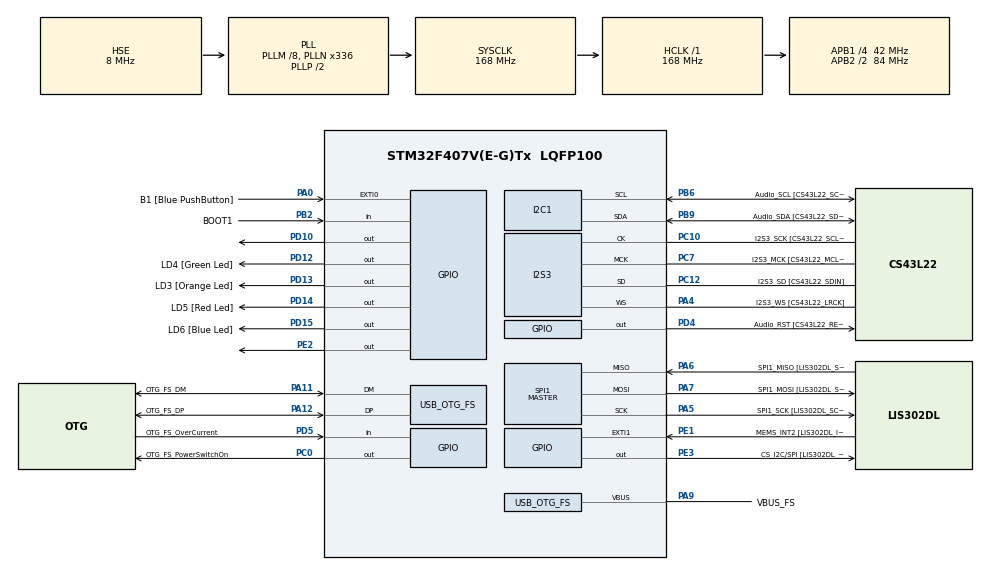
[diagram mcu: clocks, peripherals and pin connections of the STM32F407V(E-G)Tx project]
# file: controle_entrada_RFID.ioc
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I2S3.AudioFreq-Half_Duplex_Master=I2S_AUDIOFREQ_96K
I2S3.ErrorAudioFreq=-2.34 %
I2S3.ErrorAudioFreq-Half_Duplex_Master=0.8 %
I2S3.FullDuplexMode=I2S_FULLDUPLEXMODE_DISABLE
I2S3.Instance=SPI$Index
I2S3.RealAudioFreq=93.75 KHz
I2S3.RealAudioFreq-Half_Duplex_Master=96.774 KHz
I2S3.VirtualMode=I2S_MODE_MASTER
Mcu.Family=STM32F4
Mcu.Name=STM32F407V(E-G)Tx
Mcu.Package=LQFP100
NVIC.OTG_FS_IRQn=true\:0\:0\:false\:false\:true\:true\:true
NVIC.PriorityGroup=NVIC_PRIORITYGROUP_0
PA0-WKUP.GPIO_Label=B1 [Blue PushButton]
PA0-WKUP.GPIO_ModeDefaultEXTI=GPIO_MODE_EVT_RISING
PA0-WKUP.GPIO_PuPd=GPIO_NOPULL
PA0-WKUP.Signal=GPXTI0
PA10.GPIO_Label=OTG_FS_ID
PA10.GPIO_Mode=GPIO_MODE_AF_PP
PA10.GPIO_PuPd=GPIO_NOPULL
PA10.GPIO_Speed=GPIO_SPEED_FREQ_LOW
PA10.Signal=USB_OTG_FS_ID
PA11.GPIO_Label=OTG_FS_DM
PA11.GPIO_Mode=GPIO_MODE_AF_PP
PA11.GPIO_PuPd=GPIO_NOPULL
PA11.GPIO_Speed=GPIO_SPEED_FREQ_LOW
PA11.Mode=Host_Only
PA11.Signal=USB_OTG_FS_DM
PA12.GPIO_Label=OTG_FS_DP
PA12.GPIO_Mode=GPIO_MODE_AF_PP
PA12.GPIO_PuPd=GPIO_NOPULL
PA12.GPIO_Speed=GPIO_SPEED_FREQ_LOW
PA12.Mode=Host_Only
PA12.Signal=USB_OTG_FS_DP
PA13.GPIO_Label=SWDIO
PA13.Mode=Serial_Wire
PA13.Signal=SYS_JTMS-SWDIO
PA14.GPIO_Label=SWCLK
PA14.Mode=Serial_Wire
PA14.Signal=SYS_JTCK-SWCLK
PA4.GPIO_Label=I2S3_WS [CS43L22_LRCK]
PA4.GPIO_Mode=GPIO_MODE_AF_PP
PA4.GPIO_PuPd=GPIO_NOPULL
PA4.GPIO_Speed=GPIO_SPEED_FREQ_LOW
PA4.Mode=Half_Duplex_Master
PA4.Signal=I2S3_WS
PA5.GPIO_Label=SPI1_SCK [LIS302DL_SCL/SPC]
PA5.GPIO_Mode=GPIO_MODE_AF_PP
PA5.GPIO_PuPd=GPIO_NOPULL
PA5.GPIO_Speed=GPIO_SPEED_FREQ_LOW
PA5.Mode=Full_Duplex_Master
PA5.Signal=SPI1_SCK
PA6.GPIO_Label=SPI1_MISO [LIS302DL_SDO]
PA6.GPIO_Mode=GPIO_MODE_AF_PP
PA6.GPIO_PuPd=GPIO_NOPULL
PA6.GPIO_Speed=GPIO_SPEED_FREQ_LOW
PA6.Mode=Full_Duplex_Master
PA6.Signal=SPI1_MISO
PA7.GPIO_Label=SPI1_MOSI [LIS302DL_SDA/SDI/SDO]
PA7.GPIO_Mode=GPIO_MODE_AF_PP
PA7.GPIO_PuPd=GPIO_NOPULL
PA7.GPIO_Speed=GPIO_SPEED_FREQ_LOW
PA7.Mode=Full_Duplex_Master
PA7.Signal=SPI1_MOSI
PA9.GPIO_Label=VBUS_FS
PA9.GPIO_Mode=GPIO_MODE_INPUT
PA9.GPIO_PuPd=GPIO_NOPULL
PA9.Mode=Activate_VBUS
PA9.Signal=USB_OTG_FS_VBUS
PB10.GPIO_Label=CLK_IN [MP45DT02_CLK]
PB10.GPIO_Mode=GPIO_MODE_AF_PP
PB10.GPIO_PuPd=GPIO_NOPULL
PB10.GPIO_Speed=GPIO_SPEED_FREQ_LOW
PB10.Signal=I2S2_CK
PB2.GPIO_Label=BOOT1
PB2.GPIO_Mode=GPIO_MODE_INPUT
PB2.GPIO_PuPd=GPIO_NOPULL
PB2.Signal=GPIO_Input
PB3.GPIO_Label=SWO
PB3.Signal=SYS_JTDO-SWO
PB6.GPIO_Label=Audio_SCL [CS43L22_SCL]
PB6.GPIO_Mode=GPIO_MODE_AF_OD
PB6.GPIO_PuPd=GPIO_NOPULL
PB6.GPIO_Speed=GPIO_SPEED_FREQ_LOW
PB6.Mode=I2C
PB6.Signal=I2C1_SCL
PB9.GPIO_Label=Audio_SDA [CS43L22_SDA]
PB9.GPIO_Mode=GPIO_MODE_AF_OD
PB9.GPIO_PuPd=GPIO_NOPULL
PB9.GPIO_Speed=GPIO_SPEED_FREQ_LOW
PB9.Mode=I2C
PB9.Signal=I2C1_SDA
PC0.GPIO_Label=OTG_FS_PowerSwitchOn
PC0.GPIO_PuPd=GPIO_NOPULL
PC0.GPIO_Speed=GPIO_SPEED_FREQ_LOW
PC0.PinState=GPIO_PIN_SET
PC0.Signal=GPIO_Output
PC10.GPIO_Label=I2S3_SCK [CS43L22_SCLK]
PC10.GPIO_Mode=GPIO_MODE_AF_PP
PC10.GPIO_PuPd=GPIO_NOPULL
PC10.GPIO_Speed=GPIO_SPEED_FREQ_LOW
PC10.Mode=Half_Duplex_Master
PC10.Signal=I2S3_CK
PC12.GPIO_Label=I2S3_SD [CS43L22_SDIN]
PC12.GPIO_Mode=GPIO_MODE_AF_PP
PC12.GPIO_PuPd=GPIO_NOPULL
PC12.GPIO_Speed=GPIO_SPEED_FREQ_LOW
PC12.Mode=Half_Duplex_Master
PC12.Signal=I2S3_SD
PC14-OSC32_IN.GPIO_Label=PC14-OSC32_IN
PC14-OSC32_IN.Mode=LSE-External-Oscillator
PC14-OSC32_IN.Signal=RCC_OSC32_IN
PC15-OSC32_OUT.GPIO_Label=PC15-OSC32_OUT
PC15-OSC32_OUT.Mode=LSE-External-Oscillator
PC15-OSC32_OUT.Signal=RCC_OSC32_OUT
PC3.GPIO_Label=PDM_OUT [MP45DT02_DOUT]
PC3.GPIO_Mode=GPIO_MODE_AF_PP
PC3.GPIO_PuPd=GPIO_NOPULL
PC3.GPIO_Speed=GPIO_SPEED_FREQ_LOW
PC3.Signal=I2S2_SD
PC7.GPIO_Label=I2S3_MCK [CS43L22_MCLK]
PC7.GPIO_Mode=GPIO_MODE_AF_PP
PC7.GPIO_PuPd=GPIO_NOPULL
PC7.GPIO_Speed=GPIO_SPEED_FREQ_LOW
PC7.Mode=Master_Clock_Activated
PC7.Signal=I2S3_MCK
PD10.Signal=GPIO_Output
PD12.GPIO_Label=LD4 [Green Led]
PD12.GPIO_PuPd=GPIO_NOPULL
PD12.GPIO_Speed=GPIO_SPEED_FREQ_LOW
PD12.Signal=GPIO_Output
PD13.GPIO_Label=LD3 [Orange Led]
PD13.GPIO_PuPd=GPIO_NOPULL
PD13.GPIO_Speed=GPIO_SPEED_FREQ_LOW
PD13.Signal=GPIO_Output
PD14.GPIO_Label=LD5 [Red Led]
PD14.GPIO_PuPd=GPIO_NOPULL
PD14.GPIO_Speed=GPIO_SPEED_FREQ_LOW
PD14.Signal=GPIO_Output
PD15.GPIO_Label=LD6 [Blue Led]
PD15.GPIO_PuPd=GPIO_NOPULL
PD15.GPIO_Speed=GPIO_SPEED_FREQ_LOW
PD15.Signal=GPIO_Output
PD4.GPIO_Label=Audio_RST [CS43L22_RESET]
PD4.GPIO_PuPd=GPIO_NOPULL
PD4.GPIO_Speed=GPIO_SPEED_FREQ_LOW
PD4.Signal=GPIO_Output
PD5.GPIO_Label=OTG_FS_OverCurrent
PD5.GPIO_Mode=GPIO_MODE_INPUT
PD5.GPIO_PuPd=GPIO_NOPULL
PD5.Signal=GPIO_Input
PE1.GPIO_Label=MEMS_INT2 [LIS302DL_INT2]
PE1.GPIO_ModeDefaultEXTI=GPIO_MODE_EVT_RISING
PE1.GPIO_PuPd=GPIO_NOPULL
PE1.Signal=GPXTI1
PE2.Signal=GPIO_Output
PE3.GPIO_Label=CS_I2C/SPI [LIS302DL_CS_I2C/SPI]
PE3.GPIO_PuPd=GPIO_NOPULL
PE3.GPIO_Speed=GPIO_SPEED_FREQ_LOW
PE3.Signal=GPIO_Output
PH0-OSC_IN.GPIO_Label=PH0-OSC_IN
PH0-OSC_IN.Mode=HSE-External-Oscillator
PH0-OSC_IN.Signal=RCC_OSC_IN
PH1-OSC_OUT.GPIO_Label=PH1-OSC_OUT
PH1-OSC_OUT.Mode=HSE-External-Oscillator
PH1-OSC_OUT.Signal=RCC_OSC_OUT
ProjectManager.HeapSize=0x200
ProjectManager.StackSize=0x400
ProjectManager.TargetToolchain=STM32CubeIDE
RCC.48MHZClocksFreq_Value=48000000
RCC.AHBFreq_Value=168000000
RCC.APB1CLKDivider=RCC_HCLK_DIV4
RCC.APB1Freq_Value=42000000
RCC.APB1TimFreq_Value=84000000
RCC.APB2CLKDivider=RCC_HCLK_DIV2
RCC.APB2Freq_Value=84000000
RCC.APB2TimFreq_Value=168000000
RCC.CortexFreq_Value=168000000
RCC.HCLKFreq_Value=168000000
RCC.HSE_VALUE=8000000
RCC.HSI_VALUE=16000000
RCC.PLLM=8
RCC.PLLN=336
RCC.PLLQ=7
RCC.SYSCLKFreq_VALUE=168000000
RCC.SYSCLKSource=RCC_SYSCLKSOURCE_PLLCLK
RCC.VCOOutputFreq_Value=336000000
SPI1.BaudRatePrescaler-Full_Duplex_Master=SPI_BAUDRATEPRESCALER_2
SPI1.CalculateBaudRate-Full_Duplex_Master=42.0 MBits/s
SPI1.Direction=SPI_DIRECTION_2LINES
SPI1.Mode=SPI_MODE_MASTER
SPI1.Mode-Full_Duplex_Master=SPI_MODE_MASTER
SPI1.VirtualType=VM_MASTER
USB_HOST.BSP.number=1
USB_HOST.USBH_HandleTypeDef-CDC_FS=hUsbHostFS
USB_HOST.VirtualModeFS=Cdc
USB_HOST0.BSP.STBoard=false
USB_HOST0.BSP.api=Unknown
USB_HOST0.BSP.i2caddr=0
USB_HOST0.BSP.i2creg=0
USB_HOST0.BSP.instance=PC0
USB_HOST0.BSP.ip=GPIO
USB_HOST0.BSP.mode=Output
USB_HOST0.BSP.name=Drive_VBUS_FS
USB_HOST0.BSP.solution=PC0
USB_OTG_FS.VirtualMode=Host_Only
USB_OTG_FS.phy_itface=HCD_PHY_EMBEDDED
VP_USB_HOST_VS_USB_HOST_CDC_FS.Mode=CDC_FS
board=STM32F407G-DISC1

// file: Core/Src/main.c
/* USER CODE BEGIN Header */
/**
  ******************************************************************************
  * @file           : main.c
  * @brief          : Main program body
  ******************************************************************************
  * @attention
  *
  * <h2><center>&copy; Copyright (c) 2020 STMicroelectronics.
  * All rights reserved.</center></h2>
  *
  * This software component is licensed by ST under Ultimate Liberty license
  * SLA0044, the "License"; You may not use this file except in compliance with
  * the License. You may obtain a copy of the License at:
  *                             www.st.com/SLA0044
  *
  ******************************************************************************
  */
/* USER CODE END Header */
#include "main.h"
#include "usb_host.h"

I2C_HandleTypeDef hi2c1;

I2S_HandleTypeDef hi2s3;

SPI_HandleTypeDef hspi1;

void SystemClock_Config(void);
static void MX_GPIO_Init(void);
static void MX_I2C1_Init(void);
static void MX_I2S3_Init(void);
static void MX_SPI1_Init(void);
void MX_USB_HOST_Process(void);

int main(void)
{
  /* USER CODE BEGIN 1 */
	int acesso = '0';
  /* USER CODE END 1 */

  /* MCU Configuration--------------------------------------------------------*/

  /* Reset of all peripherals, Initializes the Flash interface and the Systick. */
  HAL_Init();

  /* Configure the system clock */
  SystemClock_Config();

  /* Initialize all configured peripherals */
  MX_GPIO_Init();
  MX_I2C1_Init();
  MX_I2S3_Init();
  MX_SPI1_Init();
  MX_USB_HOST_Init();

  /* Infinite loop */
  /* USER CODE BEGIN WHILE */
  while (1)
  {
	  acesso = HAL_GPIO_ReadPin(GPIOA,GPIO_PIN_6);

	  if(acesso == '1')
	  {
		  HAL_GPIO_TogglePin(GPIOD,GPIO_PIN_12);
		  HAL_Delay(3000);
	  }
	  else if(acesso == '0')
	  {
		  HAL_GPIO_TogglePin(GPIOD,GPIO_PIN_14);
		  HAL_Delay(3000);
	  }

    /* USER CODE END WHILE */
    MX_USB_HOST_Process();

  }
}

void SystemClock_Config(void)
{
  RCC_OscInitTypeDef RCC_OscInitStruct = {0};
  RCC_ClkInitTypeDef RCC_ClkInitStruct = {0};
  RCC_PeriphCLKInitTypeDef PeriphClkInitStruct = {0};

  /** Configure the main internal regulator output voltage
  */
  __HAL_RCC_PWR_CLK_ENABLE();
  __HAL_PWR_VOLTAGESCALING_CONFIG(PWR_REGULATOR_VOLTAGE_SCALE1);
  /** Initializes the RCC Oscillators according to the specified parameters
  * in the RCC_OscInitTypeDef structure.
  */
  RCC_OscInitStruct.OscillatorType = RCC_OSCILLATORTYPE_HSE;
  RCC_OscInitStruct.HSEState = RCC_HSE_ON;
  RCC_OscInitStruct.PLL.PLLState = RCC_PLL_ON;
  RCC_OscInitStruct.PLL.PLLSource = RCC_PLLSOURCE_HSE;
  RCC_OscInitStruct.PLL.PLLM = 8;
  RCC_OscInitStruct.PLL.PLLN = 336;
  RCC_OscInitStruct.PLL.PLLP = RCC_PLLP_DIV2;
  RCC_OscInitStruct.PLL.PLLQ = 7;
  if (HAL_RCC_OscConfig(&RCC_OscInitStruct) != HAL_OK)
  {
    Error_Handler();
  }
  /** Initializes the CPU, AHB and APB buses clocks
  */
  RCC_ClkInitStruct.ClockType = RCC_CLOCKTYPE_HCLK|RCC_CLOCKTYPE_SYSCLK
                              |RCC_CLOCKTYPE_PCLK1|RCC_CLOCKTYPE_PCLK2;
  RCC_ClkInitStruct.SYSCLKSource = RCC_SYSCLKSOURCE_PLLCLK;
  RCC_ClkInitStruct.AHBCLKDivider = RCC_SYSCLK_DIV1;
  RCC_ClkInitStruct.APB1CLKDivider = RCC_HCLK_DIV4;
  RCC_ClkInitStruct.APB2CLKDivider = RCC_HCLK_DIV2;

  if (HAL_RCC_ClockConfig(&RCC_ClkInitStruct, FLASH_LATENCY_5) != HAL_OK)
  {
    Error_Handler();
  }
  PeriphClkInitStruct.PeriphClockSelection = RCC_PERIPHCLK_I2S;
  PeriphClkInitStruct.PLLI2S.PLLI2SN = 192;
  PeriphClkInitStruct.PLLI2S.PLLI2SR = 2;
  if (HAL_RCCEx_PeriphCLKConfig(&PeriphClkInitStruct) != HAL_OK)
  {
    Error_Handler();
  }
}

static void MX_I2C1_Init(void)
{

  hi2c1.Instance = I2C1;
  hi2c1.Init.ClockSpeed = 100000;
  hi2c1.Init.DutyCycle = I2C_DUTYCYCLE_2;
  hi2c1.Init.OwnAddress1 = 0;
  hi2c1.Init.AddressingMode = I2C_ADDRESSINGMODE_7BIT;
  hi2c1.Init.DualAddressMode = I2C_DUALADDRESS_DISABLE;
  hi2c1.Init.OwnAddress2 = 0;
  hi2c1.Init.GeneralCallMode = I2C_GENERALCALL_DISABLE;
  hi2c1.Init.NoStretchMode = I2C_NOSTRETCH_DISABLE;
  if (HAL_I2C_Init(&hi2c1) != HAL_OK)
  {
    Error_Handler();
  }

}

static void MX_I2S3_Init(void)
{

  hi2s3.Instance = SPI3;
  hi2s3.Init.Mode = I2S_MODE_MASTER_TX;
  hi2s3.Init.Standard = I2S_STANDARD_PHILIPS;
  hi2s3.Init.DataFormat = I2S_DATAFORMAT_16B;
  hi2s3.Init.MCLKOutput = I2S_MCLKOUTPUT_ENABLE;
  hi2s3.Init.AudioFreq = I2S_AUDIOFREQ_96K;
  hi2s3.Init.CPOL = I2S_CPOL_LOW;
  hi2s3.Init.ClockSource = I2S_CLOCK_PLL;
  hi2s3.Init.FullDuplexMode = I2S_FULLDUPLEXMODE_DISABLE;
  if (HAL_I2S_Init(&hi2s3) != HAL_OK)
  {
    Error_Handler();
  }

}

static void MX_SPI1_Init(void)
{

  /* SPI1 parameter configuration*/
  hspi1.Instance = SPI1;
  hspi1.Init.Mode = SPI_MODE_MASTER;
  hspi1.Init.Direction = SPI_DIRECTION_2LINES;
  hspi1.Init.DataSize = SPI_DATASIZE_8BIT;
  hspi1.Init.CLKPolarity = SPI_POLARITY_LOW;
  hspi1.Init.CLKPhase = SPI_PHASE_1EDGE;
  hspi1.Init.NSS = SPI_NSS_SOFT;
  hspi1.Init.BaudRatePrescaler = SPI_BAUDRATEPRESCALER_2;
  hspi1.Init.FirstBit = SPI_FIRSTBIT_MSB;
  hspi1.Init.TIMode = SPI_TIMODE_DISABLE;
  hspi1.Init.CRCCalculation = SPI_CRCCALCULATION_DISABLE;
  hspi1.Init.CRCPolynomial = 10;
  if (HAL_SPI_Init(&hspi1) != HAL_OK)
  {
    Error_Handler();
  }

}

static void MX_GPIO_Init(void)
{
  GPIO_InitTypeDef GPIO_InitStruct = {0};

  /* GPIO Ports Clock Enable */
  __HAL_RCC_GPIOE_CLK_ENABLE();
  __HAL_RCC_GPIOC_CLK_ENABLE();
  __HAL_RCC_GPIOH_CLK_ENABLE();
  __HAL_RCC_GPIOA_CLK_ENABLE();
  __HAL_RCC_GPIOB_CLK_ENABLE();
  __HAL_RCC_GPIOD_CLK_ENABLE();

  /*Configure GPIO pin Output Level */
  HAL_GPIO_WritePin(GPIOE, GPIO_PIN_2|CS_I2C_SPI_Pin, GPIO_PIN_RESET);

  /*Configure GPIO pin Output Level */
  HAL_GPIO_WritePin(OTG_FS_PowerSwitchOn_GPIO_Port, OTG_FS_PowerSwitchOn_Pin, GPIO_PIN_SET);

  /*Configure GPIO pin Output Level */
  HAL_GPIO_WritePin(GPIOD, GPIO_PIN_10|LD4_Pin|LD3_Pin|LD5_Pin
                          |LD6_Pin|Audio_RST_Pin, GPIO_PIN_RESET);

  /*Configure GPIO pins : PE2 CS_I2C_SPI_Pin */
  GPIO_InitStruct.Pin = GPIO_PIN_2|CS_I2C_SPI_Pin;
  GPIO_InitStruct.Mode = GPIO_MODE_OUTPUT_PP;
  GPIO_InitStruct.Pull = GPIO_NOPULL;
  GPIO_InitStruct.Speed = GPIO_SPEED_FREQ_LOW;
  HAL_GPIO_Init(GPIOE, &GPIO_InitStruct);

  /*Configure GPIO pin : OTG_FS_PowerSwitchOn_Pin */
  GPIO_InitStruct.Pin = OTG_FS_PowerSwitchOn_Pin;
  GPIO_InitStruct.Mode = GPIO_MODE_OUTPUT_PP;
  GPIO_InitStruct.Pull = GPIO_NOPULL;
  GPIO_InitStruct.Speed = GPIO_SPEED_FREQ_LOW;
  HAL_GPIO_Init(OTG_FS_PowerSwitchOn_GPIO_Port, &GPIO_InitStruct);

  /*Configure GPIO pin : PDM_OUT_Pin */
  GPIO_InitStruct.Pin = PDM_OUT_Pin;
  GPIO_InitStruct.Mode = GPIO_MODE_AF_PP;
  GPIO_InitStruct.Pull = GPIO_NOPULL;
  GPIO_InitStruct.Speed = GPIO_SPEED_FREQ_LOW;
  GPIO_InitStruct.Alternate = GPIO_AF5_SPI2;
  HAL_GPIO_Init(PDM_OUT_GPIO_Port, &GPIO_InitStruct);

  /*Configure GPIO pin : B1_Pin */
  GPIO_InitStruct.Pin = B1_Pin;
  GPIO_InitStruct.Mode = GPIO_MODE_EVT_RISING;
  GPIO_InitStruct.Pull = GPIO_NOPULL;
  HAL_GPIO_Init(B1_GPIO_Port, &GPIO_InitStruct);

  /*Configure GPIO pin : BOOT1_Pin */
  GPIO_InitStruct.Pin = BOOT1_Pin;
  GPIO_InitStruct.Mode = GPIO_MODE_INPUT;
  GPIO_InitStruct.Pull = GPIO_NOPULL;
  HAL_GPIO_Init(BOOT1_GPIO_Port, &GPIO_InitStruct);

  /*Configure GPIO pin : CLK_IN_Pin */
  GPIO_InitStruct.Pin = CLK_IN_Pin;
  GPIO_InitStruct.Mode = GPIO_MODE_AF_PP;
  GPIO_InitStruct.Pull = GPIO_NOPULL;
  GPIO_InitStruct.Speed = GPIO_SPEED_FREQ_LOW;
  GPIO_InitStruct.Alternate = GPIO_AF5_SPI2;
  HAL_GPIO_Init(CLK_IN_GPIO_Port, &GPIO_InitStruct);

  /*Configure GPIO pins : PD10 LD4_Pin LD3_Pin LD5_Pin
                           LD6_Pin Audio_RST_Pin */
  GPIO_InitStruct.Pin = GPIO_PIN_10|LD4_Pin|LD3_Pin|LD5_Pin
                          |LD6_Pin|Audio_RST_Pin;
  GPIO_InitStruct.Mode = GPIO_MODE_OUTPUT_PP;
  GPIO_InitStruct.Pull = GPIO_NOPULL;
  GPIO_InitStruct.Speed = GPIO_SPEED_FREQ_LOW;
  HAL_GPIO_Init(GPIOD, &GPIO_InitStruct);

  /*Configure GPIO pin : OTG_FS_OverCurrent_Pin */
  GPIO_InitStruct.Pin = OTG_FS_OverCurrent_Pin;
  GPIO_InitStruct.Mode = GPIO_MODE_INPUT;
  GPIO_InitStruct.Pull = GPIO_NOPULL;
  HAL_GPIO_Init(OTG_FS_OverCurrent_GPIO_Port, &GPIO_InitStruct);

  /*Configure GPIO pin : MEMS_INT2_Pin */
  GPIO_InitStruct.Pin = MEMS_INT2_Pin;
  GPIO_InitStruct.Mode = GPIO_MODE_EVT_RISING;
  GPIO_InitStruct.Pull = GPIO_NOPULL;
  HAL_GPIO_Init(MEMS_INT2_GPIO_Port, &GPIO_InitStruct);

}

/* USER CODE BEGIN 4 */
void rc522_init()
{
// spi1 gpio init
RCC_AHB1PeriphClockCmd(RCC_AHB1Periph_GPIOA, ENABLE);
GPIO_InitTypeDef GPIO_InitStruct;
GPIO_InitStruct.GPIO_Pin = GPIO_Pin_5 | GPIO_Pin_6 | GPIO_Pin_7;
GPIO_InitStruct.GPIO_Mode = GPIO_Mode_AF;
GPIO_InitStruct.GPIO_Speed = GPIO_Speed_50MHz;
GPIO_InitStruct.GPIO_OType = GPIO_OType_PP;
GPIO_InitStruct.GPIO_PuPd = GPIO_PuPd_NOPULL;
GPIO_Init(GPIOA, &GPIO_InitStruct);
GPIO_PinAFConfig(GPIOA, GPIO_PinSource5, GPIO_AF_SPI1);
GPIO_PinAFConfig(GPIOA, GPIO_PinSource6, GPIO_AF_SPI1);
GPIO_PinAFConfig(GPIOA, GPIO_PinSource7, GPIO_AF_SPI1);
RCC_AHB1PeriphClockCmd(RCC_AHB1Periph_GPIOC, ENABLE);
GPIO_InitStruct.GPIO_Pin = RESET_PIN|CS_PIN;
GPIO_InitStruct.GPIO_Mode = GPIO_Mode_OUT;
GPIO_InitStruct.GPIO_Speed = GPIO_Speed_50MHz;
GPIO_InitStruct.GPIO_OType = GPIO_OType_PP;
GPIO_InitStruct.GPIO_PuPd = GPIO_PuPd_NOPULL;
GPIO_Init(GPIOC, &GPIO_InitStruct);
GPIO_SetBits(CS_PORT, CS_PIN);
GPIO_ResetBits(RESET_PORT, RESET_PIN);
RCC_APB2PeriphClockCmd(RCC_APB2Periph_SPI1, ENABLE);
SPI_I2S_DeInit(SPI1);
SPI_InitTypeDef SPI_InitStruct;
SPI_InitStruct.SPI_Direction = SPI_Direction_2Lines_FullDuplex;
SPI_InitStruct.SPI_Mode = SPI_Mode_Master;
SPI_InitStruct.SPI_DataSize = SPI_DataSize_8b;
SPI_InitStruct.SPI_CPOL = SPI_CPOL_Low;
SPI_InitStruct.SPI_CPHA = SPI_CPHA_1Edge;
SPI_InitStruct.SPI_NSS = SPI_NSS_Soft;
SPI_InitStruct.SPI_BaudRatePrescaler = SPI_BaudRatePrescaler_16;
SPI_InitStruct.SPI_FirstBit = SPI_FirstBit_MSB;
SPI_InitStruct.SPI_CRCPolynomial=7;
SPI_Init(SPI1,&SPI_InitStruct);
SPI_Cmd(SPI1,ENABLE);
}

/* USER CODE END 4 */

void Error_Handler(void)
{
}

/************************ (C) COPYRIGHT STMicroelectronics *****END OF FILE****/
